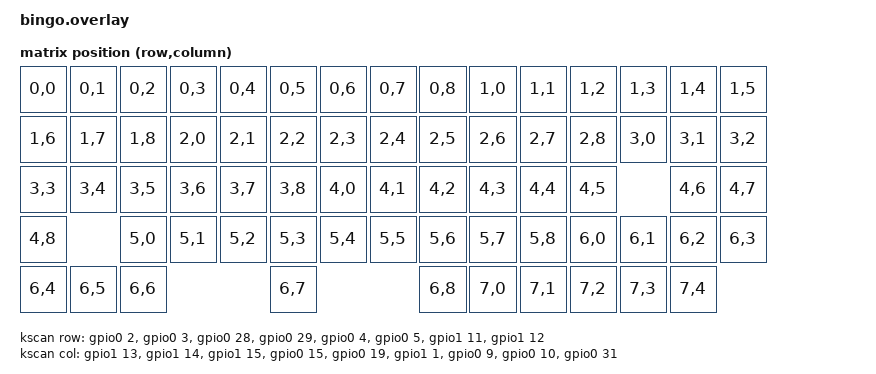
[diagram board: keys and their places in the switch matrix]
// This file configures the hardware matrix layer for your custom 67-key layout
#include <dt-bindings/zmk/matrix_transform.h>
#include <dt-bindings/led/led.h>
#include "bingo-layouts.dtsi"

&pinctrl {
    spi3_default: spi3_default {
        group1 {
            // LED connected to D17, which is P1.03
            psels = <NRF_PSEL(SPIM_MOSI, 1, 3)>;
            nordic,drive-mode = <NRF_DRIVE_H0H1>;
        };
    };
    spi3_sleep: spi3_sleep {
        group1 {
            // MUST MATCH the pin above
            psels = <NRF_PSEL(SPIM_MOSI, 1, 3)>;
            low-power-enable;
        };
    };
};

&spi3 {
    compatible = "nordic,nrf-spim";
    status = "okay";

    pinctrl-0 = <&spi3_default>;
    pinctrl-1 = <&spi3_sleep>;
    pinctrl-names = "default", "sleep";

    led_strip: ws2812@0 {
        compatible = "worldsemi,ws2812-spi";

        /* SPI */
        reg = <0>; /* ignored, but necessary for SPI bindings */
        spi-max-frequency = <8000000>; /* 8 MHz for strict SK6812 timing */

        /* WS2812 */
        chain-length = <68>; /* Full board of 68 LEDs */
        spi-one-frame = <0x7C>; /* 5 highs, 3 lows -> 625ns high */
        spi-zero-frame = <0x60>; /* 2 highs, 6 lows -> 250ns high */
        color-mapping = <LED_COLOR_ID_GREEN LED_COLOR_ID_RED LED_COLOR_ID_BLUE>;
    };
};

&vbatt {
    status = "disabled";
};

/ {
    chosen {
        zmk,physical-layout = &default_layout;
        zmk,underglow = &led_strip;
        zmk,ext-power = &vcc_power;
        /delete-property/ zmk,battery;
    };

    vcc_power: ext-power {
        compatible = "zmk,ext-power-generic";
        control-gpios = <&gpio1 5 GPIO_ACTIVE_HIGH>; // D18 (P1.05) - HIGH for TPS61023 EN pin
        init-delay-ms = <50>;
    };


    kscan: kscan {
        compatible = "zmk,kscan-gpio-matrix";
        diode-direction = "col2row";
        wakeup-source;

        // 📝 9 COLUMN PINS (Col 1 to 9 mapped to actual GPIOs from schematic)
        col-gpios
            = <&gpio1 13 GPIO_ACTIVE_HIGH> // col 1 (D8)
            , <&gpio1 14 GPIO_ACTIVE_HIGH> // col 2 (D9)
            , <&gpio1 15 GPIO_ACTIVE_HIGH> // col 3 (D10)
            , <&gpio0 15 GPIO_ACTIVE_HIGH> // col 4 (D11)
            , <&gpio0 19 GPIO_ACTIVE_HIGH> // col 5 (D12)
            , <&gpio1 1  GPIO_ACTIVE_HIGH> // col 6 (D13)
            , <&gpio0 9  GPIO_ACTIVE_HIGH> // col 7 (D14)
            , <&gpio0 10 GPIO_ACTIVE_HIGH> // col 8 (D15)
            , <&gpio0 31 GPIO_ACTIVE_HIGH> // col 9 (D16 / P0.31)
            ;

        // 📝 8 ROW PINS (Row 1 to 8 mapped to actual GPIOs from schematic)
        row-gpios
            = <&gpio0 2  (GPIO_ACTIVE_HIGH | GPIO_PULL_DOWN)> // row 1 (D0)
            , <&gpio0 3  (GPIO_ACTIVE_HIGH | GPIO_PULL_DOWN)> // row 2 (D1)
            , <&gpio0 28 (GPIO_ACTIVE_HIGH | GPIO_PULL_DOWN)> // row 3 (D2)
            , <&gpio0 29 (GPIO_ACTIVE_HIGH | GPIO_PULL_DOWN)> // row 4 (D3)
            , <&gpio0 4  (GPIO_ACTIVE_HIGH | GPIO_PULL_DOWN)> // row 5 (D4)
            , <&gpio0 5  (GPIO_ACTIVE_HIGH | GPIO_PULL_DOWN)> // row 6 (D5)
            , <&gpio1 11 (GPIO_ACTIVE_HIGH | GPIO_PULL_DOWN)> // row 7 (D6)
            , <&gpio1 12 (GPIO_ACTIVE_HIGH | GPIO_PULL_DOWN)> // row 8 (D7)
            ;
    };

    default_transform: default_transform {
        compatible = "zmk,matrix-transform";
        columns = <9>; 
        rows = <8>;    

        // Physical to electrical mapping (68 keys)
        map = <
            RC(0,0) RC(0,1) RC(0,2) RC(0,3) RC(0,4) RC(0,5) RC(0,6) RC(0,7) RC(0,8) RC(1,0) RC(1,1) RC(1,2) RC(1,3) RC(1,4) RC(1,5)
            RC(1,6) RC(1,7) RC(1,8) RC(2,0) RC(2,1) RC(2,2) RC(2,3) RC(2,4) RC(2,5) RC(2,6) RC(2,7) RC(2,8) RC(3,0) RC(3,1) RC(3,2)
            RC(3,3) RC(3,4) RC(3,5) RC(3,6) RC(3,7) RC(3,8) RC(4,0) RC(4,1) RC(4,2) RC(4,3) RC(4,4) RC(4,5)         RC(4,6) RC(4,7)
            RC(4,8)         RC(5,0) RC(5,1) RC(5,2) RC(5,3) RC(5,4) RC(5,5) RC(5,6) RC(5,7) RC(5,8) RC(6,0) RC(6,1) RC(6,2) RC(6,3)
            RC(6,4) RC(6,5) RC(6,6)                 RC(6,7)                 RC(6,8) RC(7,0) RC(7,1) RC(7,2) RC(7,3) RC(7,4)
        >;
    };
};      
